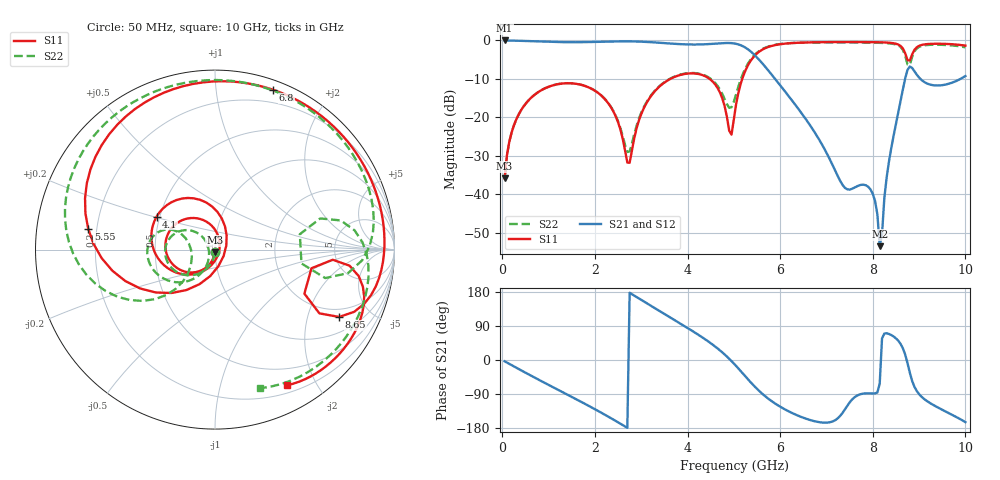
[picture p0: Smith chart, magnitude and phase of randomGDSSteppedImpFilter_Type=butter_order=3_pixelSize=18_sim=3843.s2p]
! freq	dB(S11)	phase(S11)	dB(S12)	phase(S12)
!  dB(S21)	phase(S21)	dB(S22)	phase(S22)
!S-par simulation data
#  GHz  S  DB  R 50
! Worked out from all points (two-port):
!   200 points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, 50 MHz to 10 GHz, reference 50 ohm
!   highest |S21| = -0.01 dB at 50 MHz (marker M1); lowest = -53.4 dB at 8.15 GHz (marker M2)
!   |S21| within 3 dB of the highest: start of sweep to 5.377 GHz
!   lowest |S11| = -35.9 dB at 50 MHz (marker M3), VSWR 1.03, Z = 49.9 - j1.61 ohm
!   |S11| at or under -10 dB: start of sweep to 3.629 GHz; 4.476 GHz to 5.182 GHz (705.2 MHz wide, 14.6 % of centre)
!   |S22| runs from -35.9 to -0.5 dB; largest |S21 - S12| = 0
!   S11 on the Smith chart (normalised r, x): 50 MHz: 1.00, -0.03; 4.1 GHz: 0.48, +0.20; 5.55 GHz: 0.17, +0.08; 6.8 GHz: 0.08, +1.42; 8.65 GHz: 1.61, -3.18; 10 GHz: 0.29, -1.62
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0.05  -35.85 -93.3  -0.01 -3.4  -0.01 -3.4  -35.85 -92.8
0.2  -23.96 -104.5  -0.04 -13.5  -0.04 -13.5  -23.96 -102.6
0.55  -15.79 -129.8  -0.17 -36.7  -0.17 -36.7  -15.78 -124.6
1.75  -11.69 146.5  -0.45 -113.4  -0.45 -113.4  -11.67 166.3
2.35  -17.42 98.0  -0.27 -153.8  -0.27 -153.8  -17.34 136.8
2.75  -31.78 -33.8  -0.24 177.4  -0.24 177.4  -28.83 -156.8
3.4  -11.91 -150.1  -0.61 128.9  -0.61 128.9  -11.80 -135.1
4.1  -8.55 150.6  -1.06 76.9  -1.06 76.9  -8.45 -176.5
4.65  -12.36 93.9  -0.78 30.4  -0.78 30.4  -11.84 154.9
4.95  -24.47 -36.4  -0.70 -2.9  -0.70 -2.9  -17.35 -162.0
5.05  -16.49 -100.2  -0.88 -15.8  -0.88 -15.8  -13.92 -138.5
5.55  -2.90 170.7  -5.07 -82.0  -5.07 -82.0  -2.72 -169.1
6.1  -0.84 115.6  -13.17 -130.1  -13.17 -130.1  -0.80 146.7
6.7  -0.49 75.8  -23.02 -160.2  -23.02 -160.2  -0.52 111.2
6.8  -0.47 70.1  -24.91 -163.1  -24.91 -163.1  -0.51 105.8
7.4  -0.42 38.8  -38.31 -130.1  -38.31 -130.1  -0.50 73.7
7.95  -0.44 12.8  -38.67 -88.0  -38.67 -88.0  -0.56 43.3
8.15  -0.48 3.2  -53.44 -62.1  -53.44 -62.1  -0.62 31.3
8.35  -0.60 -7.0  -31.42 68.7  -31.42 68.7  -0.76 18.0
8.65  -2.08 -28.5  -12.74 30.9  -12.74 30.9  -2.47 -10.0
8.9  -2.44 -6.8  -8.01 -70.7  -8.01 -70.7  -2.85 13.0
10  -1.36 -62.2  -9.24 -163.9  -9.24 -163.9  -1.80 -71.9
